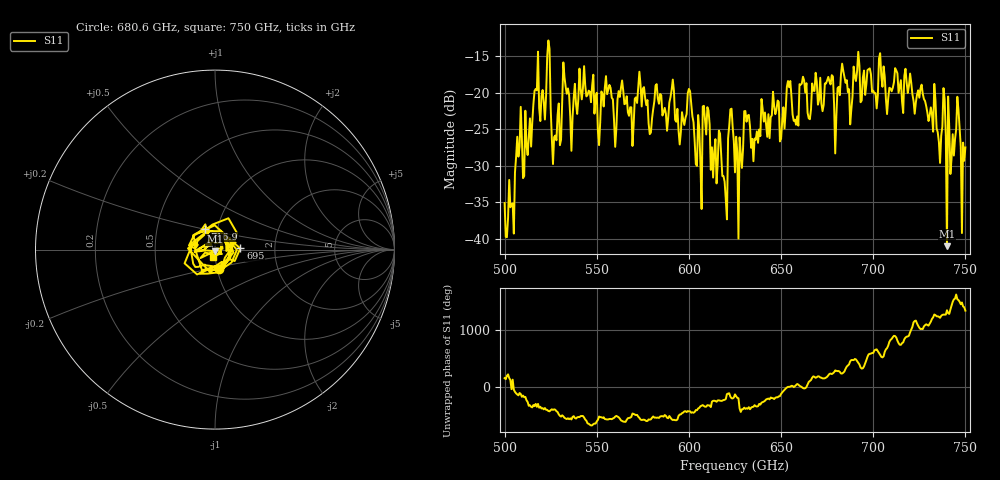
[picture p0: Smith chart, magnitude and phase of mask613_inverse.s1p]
!Created with skrf (http://scikit-rf.org).
# GHz S MA R 50.0
!freq magS11 angS11
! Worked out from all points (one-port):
!   401 points, 500 GHz to 750 GHz, reference 50 ohm
!   lowest |S11| = -41.0 dB at 740 GHz (marker M1), VSWR 1.02, Z = 49.9 - j0.88 ohm
!   |S11| at or under -10 dB: start of sweep to end of sweep
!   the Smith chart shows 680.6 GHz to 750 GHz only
!   S11 on the Smith chart (normalised r, x): 680.6 GHz: 1.02, -0.22; 695 GHz: 1.33, +0.02; 716.9 GHz: 0.87, +0.21; 750 GHz: 0.97, -0.08
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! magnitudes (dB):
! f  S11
! 500 GHz  -35.1
! 516.9 GHz  -19.5
! 520.6 GHz  -19.6
! 523.8 GHz  -12.9
! 526.9 GHz  -26.1
! 531.2 GHz  -21.1
! 562.5 GHz  -20.6
! 579.4 GHz  -25.5
! 590.6 GHz  -19.6
! 593.8 GHz  -22.2
! 600.6 GHz  -19.8
! 605.6 GHz  -25.0
! 609.4 GHz  -25.7
! 619.4 GHz  -32.2
! 622.5 GHz  -22.3
! 625 GHz  -30.9
! 628.1 GHz  -28.4
! 631.2 GHz  -24.0
! 656.2 GHz  -23.0
! 676.9 GHz  -18.9
! 680.6 GHz  -19.4
! 683.8 GHz  -17.0
! 687.5 GHz  -24.3
! 695 GHz  -17.0
! 716.9 GHz  -17.7
! 718.8 GHz  -20.1
! 740 GHz  -41.0
! 750 GHz  -27.5
